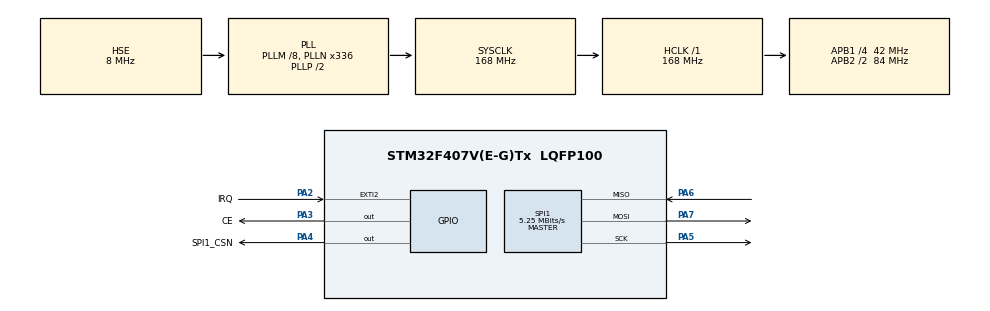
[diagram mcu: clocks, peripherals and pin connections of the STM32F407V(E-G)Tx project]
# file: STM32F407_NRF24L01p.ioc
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Dma.Request0=SPI1_TX
Dma.SPI1_TX.0.Direction=DMA_MEMORY_TO_PERIPH
Dma.SPI1_TX.0.FIFOMode=DMA_FIFOMODE_DISABLE
Dma.SPI1_TX.0.Instance=DMA2_Stream3
Dma.SPI1_TX.0.MemDataAlignment=DMA_MDATAALIGN_BYTE
Dma.SPI1_TX.0.MemInc=DMA_MINC_ENABLE
Dma.SPI1_TX.0.Mode=DMA_NORMAL
Dma.SPI1_TX.0.PeriphDataAlignment=DMA_PDATAALIGN_BYTE
Dma.SPI1_TX.0.PeriphInc=DMA_PINC_DISABLE
Dma.SPI1_TX.0.Priority=DMA_PRIORITY_LOW
Mcu.Family=STM32F4
Mcu.Name=STM32F407V(E-G)Tx
Mcu.Package=LQFP100
NVIC.DMA2_Stream3_IRQn=true\:0\:0\:false\:false\:true\:false\:true\:true
NVIC.PriorityGroup=NVIC_PRIORITYGROUP_0
NVIC.SPI1_IRQn=true\:0\:0\:false\:false\:true\:true\:true\:true
PA13.Mode=Serial_Wire
PA13.Signal=SYS_JTMS-SWDIO
PA14.Mode=Serial_Wire
PA14.Signal=SYS_JTCK-SWCLK
PA2.GPIO_Label=IRQ
PA2.GPIO_ModeDefaultEXTI=GPIO_MODE_IT_FALLING
PA2.Signal=GPXTI2
PA3.GPIO_Label=CE
PA3.GPIO_Speed=GPIO_SPEED_FREQ_HIGH
PA3.Signal=GPIO_Output
PA4.GPIO_Label=SPI1_CSN
PA4.GPIO_Speed=GPIO_SPEED_FREQ_HIGH
PA4.PinState=GPIO_PIN_SET
PA4.Signal=GPIO_Output
PA5.Mode=Full_Duplex_Master
PA5.Signal=SPI1_SCK
PA6.Mode=Full_Duplex_Master
PA6.Signal=SPI1_MISO
PA7.Mode=Full_Duplex_Master
PA7.Signal=SPI1_MOSI
PC14-OSC32_IN.Mode=LSE-External-Oscillator
PC14-OSC32_IN.Signal=RCC_OSC32_IN
PC15-OSC32_OUT.Mode=LSE-External-Oscillator
PC15-OSC32_OUT.Signal=RCC_OSC32_OUT
PH0-OSC_IN.Mode=HSE-External-Oscillator
PH0-OSC_IN.Signal=RCC_OSC_IN
PH1-OSC_OUT.Mode=HSE-External-Oscillator
PH1-OSC_OUT.Signal=RCC_OSC_OUT
ProjectManager.HeapSize=0x200
ProjectManager.StackSize=0x400
ProjectManager.TargetToolchain=STM32CubeIDE
RCC.48MHZClocksFreq_Value=48000000
RCC.AHBFreq_Value=168000000
RCC.APB1CLKDivider=RCC_HCLK_DIV4
RCC.APB1Freq_Value=42000000
RCC.APB1TimFreq_Value=84000000
RCC.APB2CLKDivider=RCC_HCLK_DIV2
RCC.APB2Freq_Value=84000000
RCC.APB2TimFreq_Value=168000000
RCC.CortexFreq_Value=168000000
RCC.HCLKFreq_Value=168000000
RCC.HSE_VALUE=8000000
RCC.HSI_VALUE=16000000
RCC.PLLM=8
RCC.PLLN=336
RCC.PLLQ=7
RCC.PLLSourceVirtual=RCC_PLLSOURCE_HSE
RCC.SYSCLKFreq_VALUE=168000000
RCC.SYSCLKSource=RCC_SYSCLKSOURCE_PLLCLK
RCC.VCOOutputFreq_Value=336000000
SPI1.BaudRatePrescaler=SPI_BAUDRATEPRESCALER_16
SPI1.CRCCalculation=SPI_CRCCALCULATION_ENABLE
SPI1.CRCPolynomial=X0+X3+X7
SPI1.CalculateBaudRate=5.25 MBits/s
SPI1.Direction=SPI_DIRECTION_2LINES
SPI1.Mode=SPI_MODE_MASTER
SPI1.VirtualType=VM_MASTER
board=STM32F407G-DISC1

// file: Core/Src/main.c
/* USER CODE BEGIN Header */
/**
  ******************************************************************************
  * @file           : main.c
  * @brief          : Main program body
  ******************************************************************************
  * @attention
  *
  * <h2><center>&copy; Copyright (c) 2021 STMicroelectronics.
  * All rights reserved.</center></h2>
  *
  * This software component is licensed by ST under BSD 3-Clause license,
  * the "License"; You may not use this file except in compliance with the
  * License. You may obtain a copy of the License at:
  *                        opensource.org/licenses/BSD-3-Clause
  *
  ******************************************************************************
  */
/* USER CODE END Header */
#include "main.h"
#include "dma.h"
#include "spi.h"
#include "gpio.h"

/* USER CODE BEGIN Includes */
#include "nrf24l01p.h"

/* USER CODE END Includes */

/* USER CODE BEGIN PD */

#define TRANSMITTER
//#define RECEIVER

/* USER CODE END PD */

/* USER CODE BEGIN PV */
uint32_t START_TICK, END_TICK;
float dT = 0;

uint8_t rx_data[NRF24L01P_PAYLOAD_LENGTH] = {0};
uint8_t tx_data[NRF24L01P_PAYLOAD_LENGTH] = {0, 1, 2, 3, 4, 5, 6, 7, 8, 9, 10, 11, 12, 13, 14, 15, 16, 17, 18, 19, 20, 21, 22, 23, 24 ,25, 26, 27, 28, 29, 30, 0};

/* USER CODE END PV */

void SystemClock_Config(void);
/* USER CODE BEGIN PFP */

void HAL_GPIO_EXTI_Callback(uint16_t GPIO_Pin);

/* USER CODE END PFP */

int main(void)
{

  /* MCU Configuration--------------------------------------------------------*/

  /* Reset of all peripherals, Initializes the Flash interface and the Systick. */
  HAL_Init();

  /* Configure the system clock */
  SystemClock_Config();

  /* USER CODE BEGIN SysInit */
    CoreDebug -> DEMCR |= CoreDebug_DEMCR_TRCENA_Msk; // TIMING CODE
  	DWT -> CYCCNT = 0;								  // TIMING CODE
  	DWT -> CTRL = DWT_CTRL_CYCCNTENA_Msk;			  // TIMING CODE
  /* USER CODE END SysInit */

  /* Initialize all configured peripherals */
  MX_GPIO_Init();
  MX_DMA_Init();
  MX_SPI1_Init();
  /* USER CODE BEGIN 2 */

  // Disable CRC temporarily - will be re-enabled when transmitting to use hardware CRC calculation
  NRF24L01P_SPI->Instance->CR1 &= ~SPI_CR1_CRCEN;
  NRF24L01P_SPI->Init.CRCCalculation = SPI_CRCCALCULATION_DISABLE;

#ifdef RECEIVER
  	nrf24l01p_rx_init(2500, _2Mbps);
#endif

 #ifdef TRANSMITTER
	nrf24l01p_tx_init(2476, _2Mbps, _12dBm, (address){'2','N','o','d','e'}, false);
	nrf24l01p_rx_set_address((address){'1','N','o','d','e'}, 1);
 #endif
	printDetails();
  /* USER CODE END 2 */

  /* Infinite loop */
  /* USER CODE BEGIN WHILE */
  while (1)
  {
		START_TICK = DWT -> CYCCNT; // TIMING CODE
    /* USER CODE END WHILE */

    /* USER CODE BEGIN 3 */
#ifdef RECEIVER
	  // Nothing to do
#endif

#ifdef TRANSMITTER

	  for(int i= 0; i < 32 - 1; i++)	// 32 - 1 because we need a byte for 8-bit CRC
	  {
		  tx_data[i]++;
	  }

	  nrf24l01p_tx_transmit(tx_data, true);
#endif

	  END_TICK = DWT -> CYCCNT;								 // TIMING CODE
	  dT = (END_TICK - START_TICK)/(SystemCoreClock/1000.0); // TIMING CODE
	  HAL_Delay(10);

  }
  /* USER CODE END 3 */
}

void SystemClock_Config(void)
{
  RCC_OscInitTypeDef RCC_OscInitStruct = {0};
  RCC_ClkInitTypeDef RCC_ClkInitStruct = {0};

  /** Configure the main internal regulator output voltage
  */
  __HAL_RCC_PWR_CLK_ENABLE();
  __HAL_PWR_VOLTAGESCALING_CONFIG(PWR_REGULATOR_VOLTAGE_SCALE1);

  /** Initializes the RCC Oscillators according to the specified parameters
  * in the RCC_OscInitTypeDef structure.
  */
  RCC_OscInitStruct.OscillatorType = RCC_OSCILLATORTYPE_HSE;
  RCC_OscInitStruct.HSEState = RCC_HSE_ON;
  RCC_OscInitStruct.PLL.PLLState = RCC_PLL_ON;
  RCC_OscInitStruct.PLL.PLLSource = RCC_PLLSOURCE_HSE;
  RCC_OscInitStruct.PLL.PLLM = 8;
  RCC_OscInitStruct.PLL.PLLN = 336;
  RCC_OscInitStruct.PLL.PLLP = RCC_PLLP_DIV2;
  RCC_OscInitStruct.PLL.PLLQ = 7;
  if (HAL_RCC_OscConfig(&RCC_OscInitStruct) != HAL_OK)
  {
    Error_Handler();
  }

  /** Initializes the CPU, AHB and APB buses clocks
  */
  RCC_ClkInitStruct.ClockType = RCC_CLOCKTYPE_HCLK|RCC_CLOCKTYPE_SYSCLK
                              |RCC_CLOCKTYPE_PCLK1|RCC_CLOCKTYPE_PCLK2;
  RCC_ClkInitStruct.SYSCLKSource = RCC_SYSCLKSOURCE_PLLCLK;
  RCC_ClkInitStruct.AHBCLKDivider = RCC_SYSCLK_DIV1;
  RCC_ClkInitStruct.APB1CLKDivider = RCC_HCLK_DIV4;
  RCC_ClkInitStruct.APB2CLKDivider = RCC_HCLK_DIV2;

  if (HAL_RCC_ClockConfig(&RCC_ClkInitStruct, FLASH_LATENCY_5) != HAL_OK)
  {
    Error_Handler();
  }
}

/* USER CODE BEGIN 4 */

void HAL_GPIO_EXTI_Callback(uint16_t GPIO_Pin)
{
	if(GPIO_Pin == NRF24L01P_IRQ_PIN_NUMBER)
	{
#ifdef RECEIVER
	    nrf24l01p_rx_receive(rx_data);
#endif

#ifdef TRANSMITTER
		nrf24l01p_tx_irq();
#endif
	}
}

/* USER CODE END 4 */

void Error_Handler(void)
{
  __disable_irq();
  while (1)
  {
  }
}
